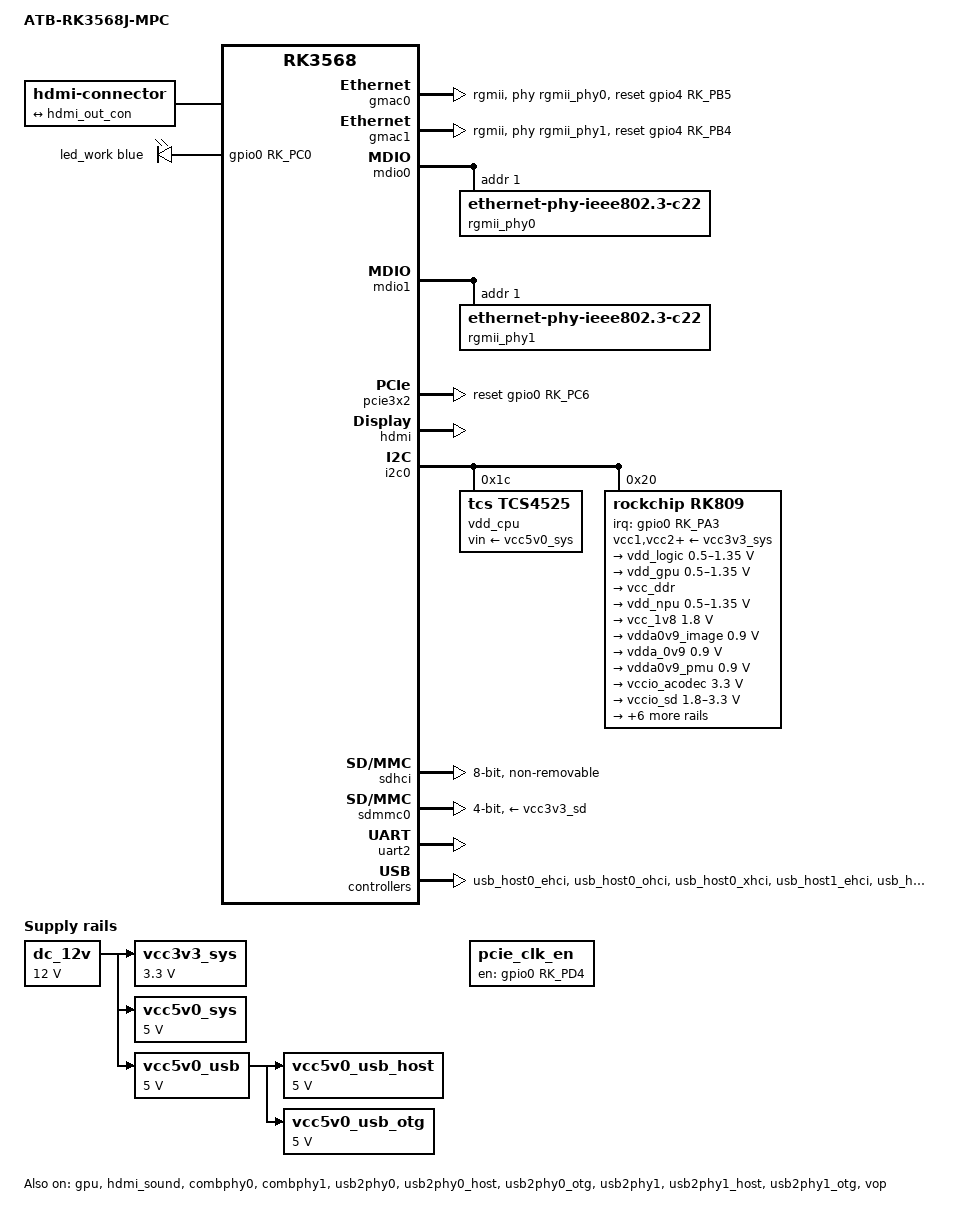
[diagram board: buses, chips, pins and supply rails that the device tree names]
// SPDX-License-Identifier: (GPL-2.0+ OR MIT)
/*
 * Copyright (c) 2021 Rockchip Electronics Co., Ltd.
 *
 */

/dts-v1/;
#include <dt-bindings/gpio/gpio.h>
#include <dt-bindings/leds/common.h>
#include <dt-bindings/pinctrl/rockchip.h>
#include <dt-bindings/soc/rockchip,vop2.h>
#include "rk3568.dtsi"

/ {
    compatible = "atb,atb-rk3568j-mpc", "rockchip,rk3568";
    
    model = "ATB-RK3568J-MPC";

	aliases {
		ethernet0 = &gmac0;
		ethernet1 = &gmac1;
        mmc0 = &sdhci;
		mmc1 = &sdmmc0;
	};

	chosen: chosen {
		stdout-path = "serial2:115200n8";
		bootargs = "root=/dev/mmcblk1p2=rootfs rootfstype=ext4 ro rootwait";
	};

	dc_12v: dc-12v {
		compatible = "regulator-fixed";
		regulator-name = "dc_12v";
		regulator-always-on;
		regulator-boot-on;
		regulator-min-microvolt = <12000000>;
		regulator-max-microvolt = <12000000>;
	};

	hdmi-con {
		compatible = "hdmi-connector";
		type = "a";

		port {
			hdmi_con_in: endpoint {
				remote-endpoint = <&hdmi_out_con>;
			};
		};
	};

	leds {
		compatible = "gpio-leds";

		led_work: led-0 {
			gpios = <&gpio0 RK_PC0 GPIO_ACTIVE_HIGH>;
			function = LED_FUNCTION_HEARTBEAT;
			color = <LED_COLOR_ID_BLUE>;
			linux,default-trigger = "heartbeat";
			pinctrl-names = "default";
			// pinctrl-0 = <&led_work_en>;
		};
	};

	rk809-sound {
		compatible = "simple-audio-card";
		simple-audio-card,format = "i2s";
		simple-audio-card,name = "Analog RK809";
		simple-audio-card,mclk-fs = <256>;

		simple-audio-card,cpu {
			sound-dai = <&i2s1_8ch>;
		};
		simple-audio-card,codec {
			sound-dai = <&rk809>;
		};
	};

	vcc3v3_sys: vcc3v3-sys {
		compatible = "regulator-fixed";
		regulator-name = "vcc3v3_sys";
		regulator-always-on;
		regulator-boot-on;
		regulator-min-microvolt = <3300000>;
		regulator-max-microvolt = <3300000>;
		vin-supply = <&dc_12v>;
	};

	vcc5v0_sys: vcc5v0-sys {
		compatible = "regulator-fixed";
		regulator-name = "vcc5v0_sys";
		regulator-always-on;
		regulator-boot-on;
		regulator-min-microvolt = <5000000>;
		regulator-max-microvolt = <5000000>;
		vin-supply = <&dc_12v>;
	};

	vcc5v0_usb: vcc5v0-usb {
		compatible = "regulator-fixed";
		enable-active-high;
		// gpio = <&gpio0 RK_PD5 GPIO_ACTIVE_HIGH>;
		regulator-name = "vcc5v0_usb";
		regulator-always-on;
		regulator-boot-on;
		regulator-min-microvolt = <5000000>;
		regulator-max-microvolt = <5000000>;
		vin-supply = <&dc_12v>;
	};

	vcc5v0_usb_host: vcc5v0-usb-host {
		compatible = "regulator-fixed";
		enable-active-high;
		// gpio = <&gpio0 RK_PD6 GPIO_ACTIVE_HIGH>;
		pinctrl-names = "default";
		// pinctrl-0 = <&vcc5v0_usb_host_en>;
		regulator-name = "vcc5v0_usb_host";
		regulator-min-microvolt = <5000000>;
		regulator-max-microvolt = <5000000>;
		vin-supply = <&vcc5v0_usb>;
	};

	vcc5v0_usb_otg: vcc5v0-usb-otg {
		compatible = "regulator-fixed";
		enable-active-high;
		// gpio = <&gpio0 RK_PD5 GPIO_ACTIVE_HIGH>;
		pinctrl-names = "default";
		// pinctrl-0 = <&vcc5v0_usb_otg_en>;
		regulator-name = "vcc5v0_usb_otg";
		regulator-min-microvolt = <5000000>;
		regulator-max-microvolt = <5000000>;
		vin-supply = <&vcc5v0_usb>;
	};

/*	vcc3v3_lcd0_n: vcc3v3-lcd0-n {
		compatible = "regulator-fixed";
		regulator-name = "vcc3v3_lcd0_n";
		regulator-min-microvolt = <3300000>;
		regulator-max-microvolt = <3300000>;
		enable-active-high;
		gpio = <&gpio0 RK_PC7 GPIO_ACTIVE_HIGH>;
		vin-supply = <&vcc3v3_sys>;
		pinctrl-names = "default";
		pinctrl-0 = <&vcc3v3_lcd0_n_en>;

		regulator-state-mem {
			regulator-off-in-suspend;
		};
	};

	vcc3v3_lcd1_n: vcc3v3-lcd1-n {
		compatible = "regulator-fixed";
		regulator-name = "vcc3v3_lcd1_n";
		regulator-min-microvolt = <3300000>;
		regulator-max-microvolt = <3300000>;
		enable-active-high;
		gpio = <&gpio0 RK_PC5 GPIO_ACTIVE_HIGH>;
		vin-supply = <&vcc3v3_sys>;
		pinctrl-names = "default";
		pinctrl-0 = <&vcc3v3_lcd1_n_en>;

		regulator-state-mem {
			regulator-off-in-suspend;
		};
	};*/
	
	
/*
    This is dummy regulator.
    It is used to have ability to activate PCIE clocks
*/
    pcie_clk_en: pcie-clk-en {
        compatible = "regulator-fixed";
        enable-active-high;
        // 1V8_PCIE_PWREN
        gpio = <&gpio0 RK_PD4 GPIO_ACTIVE_HIGH>;
        pinctrl-names = "default";
        pinctrl-0 = <&pcie_clk_en_pin>;
        regulator-name = "pcie_clk_en_pin";
        regulator-always-on;
    };
/*
    MPC

    1V8_PCIE_PWREN -> VT14(NMOS)->PCIe_EN_ -> VT15 (PMOS) -> +3.3v2_M2_CON
    0 -> 1 -> 0
    1 -> 0 -> 1

    +3.3v2_M2_CON supplies device connected to X18 (m.2 B/M)

    1V8_PCIE_PWREN -> VT14(NMOS)->PCIe_EN_ -> VT28 (PMOS) -> +3.3vPCIe
    0 -> 1 -> 0
    1 -> 0 -> 1

    +3.3vPCIe supplies D8 (SFP) and activtes generating PCIE30_REFCLKP/PCIE30_REFCLKN (reference clocks for PCIE3x controller) clocks

    D14 multiplexor is responsible for switching PCIE30_TX1P/PCIE30_TX1N and PCIE30_RX1P/PCIE30_RX1N between X18 and D8(SFP)
*/
	
	
};

&gmac0 {
	phy-mode = "rgmii";
	clock_in_out = "input";

	assigned-clocks = <&cru SCLK_GMAC0_RX_TX>, <&cru SCLK_GMAC0>;
	assigned-clock-parents = <&cru SCLK_GMAC0_RGMII_SPEED>;

	pinctrl-names = "default";
	pinctrl-0 = <	&gmac0_miim
					&gmac0_tx_bus2
					&gmac0_rx_bus2
					&gmac0_rgmii_clk
					&gmac0_rgmii_bus
					&gmac0_clkinout>;
/*
	RGMII0_RST -> VT5(NMOS) -> RGMII0_RST_
	0 -> 1
	1 -> 0
*/
	snps,reset-gpio = <&gpio4 RK_PB5 GPIO_ACTIVE_HIGH>;
	snps,reset-active-high;

	/* Reset time is 20ms, 100ms for rtl8211f */
	snps,reset-delays-us = <0 20000 100000>;

	tx_delay = <0x3c>;
	rx_delay = <0x2f>;

	phy-handle = <&rgmii_phy0>;
	status = "okay";
};

&gmac1 {
	phy-mode = "rgmii";
	clock_in_out = "input";

	assigned-clocks = <&cru SCLK_GMAC1_RX_TX>, <&cru SCLK_GMAC1>;
	assigned-clock-parents = <&cru SCLK_GMAC1_RGMII_SPEED>;

	pinctrl-names = "default";
	pinctrl-0 = <	&gmac1m0_miim
					&gmac1m0_tx_bus2
					&gmac1m0_rx_bus2
					&gmac1m0_rgmii_clk
					&gmac1m0_rgmii_bus
					&gmac1m0_clkinout>;
/*
	RGMII1_RST -> VT17(NMOS) -> RGMII1_RST_
	0 -> 1
	1 -> 0
*/
	snps,reset-gpio = <&gpio4 RK_PB4 GPIO_ACTIVE_HIGH>;
	snps,reset-active-high;

	/* Reset time is 20ms, 100ms for rtl8211f */
	snps,reset-delays-us = <0 20000 100000>;

	tx_delay = <0x4f>;
	rx_delay = <0x26>;

	phy-handle = <&rgmii_phy1>;
	status = "okay";
};

&mdio0 {
	rgmii_phy0: ethernet-phy@1 {
		compatible = "ethernet-phy-ieee802.3-c22";
		reg = <0x1>;
	};
};

&mdio1 {
	rgmii_phy1: ethernet-phy@1 {
		compatible = "ethernet-phy-ieee802.3-c22";
		reg = <0x1>;
	};
};

&pcie30phy {
	status = "disabled";
};

&pcie3x1 {
    reg = <0x3 0xc0400000 0x0 0x00400000>,
            <0x0 0xfe270000 0x0 0x00010000>,
            <0x3 0x7f000000 0x0 0x01000000>;

    ranges = <0x00000800 0x0 0xf2000000 0x0 0xf2000000 0x0 0x100000>,
            <0x81000000 0x0 0xf2100000 0x0 0xf2100000 0x0 0x100000>,
            <0x82000000 0x0 0xf2200000 0x0 0xf2200000 0x0 0x1e00000>,
            <0xc3000000 0x3 0x40000000 0x3 0x40000000 0x0 0x3ef00000>;
/*
    PCIE30X1_PERSTn -> R115(0) -> D8
    0 -> 0
    1 -> 1
*/    
    reset-gpios = <&gpio0 RK_PC3 GPIO_ACTIVE_HIGH>;

    status = "disabled";
};

&pcie3x2 {

	reg = <0x3 0xc0800000 0x0 0x400000>,
	      <0x0 0xfe280000 0x0 0x10000>,
		  <0x3 0xbf000000 0x0 0x01000000>;

	ranges = <0x00000800 0x0 0xf0000000 0x0 0xf0000000 0x0 0x100000>,
		  <0x81000000 0x0 0xf0100000 0x0 0xf0100000 0x0 0x100000>,
		  <0x82000000 0x0 0xf0200000 0x0 0xf0200000 0x0 0x1e00000>,
		  <0xc3000000 0x3 0x80000000 0x3 0x80000000 0x0 0x3ef00000>;

/*
    PCIE30X2_PERSTn is pulled up to +3.3vPCIe via R116(10K)
    PCIE30X2_PERSTn -> R179(0) -> M2_PCIE_RSTn (X18 m.2 B/M PERST#)
    0 -> 0
    1 -> 1
*/
    reset-gpios = <&gpio0 RK_PC6 GPIO_ACTIVE_HIGH>;

    status = "okay";
};

&gpu {
	mali-supply = <&vdd_gpu>;
	status = "okay";
};

&hdmi {
	avdd-0v9-supply = <&vdda0v9_image>;
	avdd-1v8-supply = <&vcca1v8_image>;
	status = "okay";
};

&hdmi_in {
	hdmi_in_vp0: endpoint {
		remote-endpoint = <&vp0_out_hdmi>;
	};
};

&hdmi_out {
	hdmi_out_con: endpoint {
		remote-endpoint = <&hdmi_con_in>;
	};
};

&hdmi_sound {
	status = "okay";
};

&i2c0 {
	status = "okay";

	vdd_cpu: regulator@1c {
		compatible = "tcs,tcs4525";
		reg = <0x1c>;
		fcs,suspend-voltage-selector = <1>;
		regulator-name = "vdd_cpu";
		regulator-always-on;
		regulator-boot-on;
		regulator-min-microvolt = <800000>;
		regulator-max-microvolt = <1150000>;
		regulator-ramp-delay = <2300>;
		vin-supply = <&vcc5v0_sys>;

		regulator-state-mem {
			regulator-off-in-suspend;
		};
	};

	rk809: pmic@20 {
		compatible = "rockchip,rk809";
		reg = <0x20>;
		interrupt-parent = <&gpio0>;
		interrupts = <RK_PA3 IRQ_TYPE_LEVEL_LOW>;
		assigned-clocks = <&cru I2S1_MCLKOUT_TX>;
		assigned-clock-parents = <&cru CLK_I2S1_8CH_TX>;
		#clock-cells = <1>;
		clock-names = "mclk";
		clocks = <&cru I2S1_MCLKOUT_TX>;
		pinctrl-names = "default";
		// pinctrl-0 = <&pmic_int>, <&i2s1m0_mclk>;
		rockchip,system-power-controller;
		#sound-dai-cells = <0>;
		vcc1-supply = <&vcc3v3_sys>;
		vcc2-supply = <&vcc3v3_sys>;
		vcc3-supply = <&vcc3v3_sys>;
		vcc4-supply = <&vcc3v3_sys>;
		vcc5-supply = <&vcc3v3_sys>;
		vcc6-supply = <&vcc3v3_sys>;
		vcc7-supply = <&vcc3v3_sys>;
		vcc8-supply = <&vcc3v3_sys>;
		vcc9-supply = <&vcc3v3_sys>;
		wakeup-source;

		regulators {
			vdd_logic: DCDC_REG1 {
				regulator-name = "vdd_logic";
				regulator-always-on;
				regulator-boot-on;
				regulator-init-microvolt = <900000>;
				regulator-initial-mode = <0x2>;
				regulator-min-microvolt = <500000>;
				regulator-max-microvolt = <1350000>;
				regulator-ramp-delay = <6001>;

				regulator-state-mem {
					regulator-off-in-suspend;
				};
			};

			vdd_gpu: DCDC_REG2 {
				regulator-name = "vdd_gpu";
				regulator-always-on;
				regulator-init-microvolt = <900000>;
				regulator-initial-mode = <0x2>;
				regulator-min-microvolt = <500000>;
				regulator-max-microvolt = <1350000>;
				regulator-ramp-delay = <6001>;

				regulator-state-mem {
					regulator-off-in-suspend;
				};
			};

			vcc_ddr: DCDC_REG3 {
				regulator-name = "vcc_ddr";
				regulator-always-on;
				regulator-boot-on;
				regulator-initial-mode = <0x2>;

				regulator-state-mem {
					regulator-on-in-suspend;
				};
			};

			vdd_npu: DCDC_REG4 {
				regulator-name = "vdd_npu";
				regulator-init-microvolt = <900000>;
				regulator-initial-mode = <0x2>;
				regulator-min-microvolt = <500000>;
				regulator-max-microvolt = <1350000>;
				regulator-ramp-delay = <6001>;

				regulator-state-mem {
					regulator-off-in-suspend;
				};
			};

			vcc_1v8: DCDC_REG5 {
				regulator-name = "vcc_1v8";
				regulator-always-on;
				regulator-boot-on;
				regulator-min-microvolt = <1800000>;
				regulator-max-microvolt = <1800000>;

				regulator-state-mem {
					regulator-off-in-suspend;
				};
			};

			vdda0v9_image: LDO_REG1 {
				regulator-name = "vdda0v9_image";
				regulator-min-microvolt = <900000>;
				regulator-max-microvolt = <900000>;

				regulator-state-mem {
					regulator-off-in-suspend;
				};
			};

			vdda_0v9: LDO_REG2 {
				regulator-name = "vdda_0v9";
				regulator-always-on;
				regulator-boot-on;
				regulator-min-microvolt = <900000>;
				regulator-max-microvolt = <900000>;

				regulator-state-mem {
					regulator-off-in-suspend;
				};
			};

			vdda0v9_pmu: LDO_REG3 {
				regulator-name = "vdda0v9_pmu";
				regulator-always-on;
				regulator-boot-on;
				regulator-min-microvolt = <900000>;
				regulator-max-microvolt = <900000>;

				regulator-state-mem {
					regulator-on-in-suspend;
					regulator-suspend-microvolt = <900000>;
				};
			};

			vccio_acodec: LDO_REG4 {
				regulator-name = "vccio_acodec";
				regulator-always-on;
				regulator-min-microvolt = <3300000>;
				regulator-max-microvolt = <3300000>;

				regulator-state-mem {
					regulator-off-in-suspend;
				};
			};

			vccio_sd: LDO_REG5 {
				regulator-name = "vccio_sd";
				regulator-min-microvolt = <1800000>;
				regulator-max-microvolt = <3300000>;

				regulator-state-mem {
					regulator-off-in-suspend;
				};
			};

			vcc3v3_pmu: LDO_REG6 {
				regulator-name = "vcc3v3_pmu";
				regulator-always-on;
				regulator-boot-on;
				regulator-min-microvolt = <3300000>;
				regulator-max-microvolt = <3300000>;

				regulator-state-mem {
					regulator-on-in-suspend;
					regulator-suspend-microvolt = <3300000>;
				};
			};

			vcca_1v8: LDO_REG7 {
				regulator-name = "vcca_1v8";
				regulator-always-on;
				regulator-boot-on;
				regulator-min-microvolt = <1800000>;
				regulator-max-microvolt = <1800000>;

				regulator-state-mem {
					regulator-off-in-suspend;
				};
			};

			vcca1v8_pmu: LDO_REG8 {
				regulator-name = "vcca1v8_pmu";
				regulator-always-on;
				regulator-boot-on;
				regulator-min-microvolt = <1800000>;
				regulator-max-microvolt = <1800000>;

				regulator-state-mem {
					regulator-on-in-suspend;
					regulator-suspend-microvolt = <1800000>;
				};
			};

			vcca1v8_image: LDO_REG9 {
				regulator-name = "vcca1v8_image";
				regulator-min-microvolt = <1800000>;
				regulator-max-microvolt = <1800000>;

				regulator-state-mem {
					regulator-off-in-suspend;
				};
			};

			vcc_3v3: SWITCH_REG1 {
				regulator-name = "vcc_3v3";
				regulator-always-on;
				regulator-boot-on;

				regulator-state-mem {
					regulator-off-in-suspend;
				};
			};

			vcc3v3_sd: SWITCH_REG2 {
				regulator-name = "vcc3v3_sd";

				regulator-state-mem {
					regulator-off-in-suspend;
				};
			};
		};

		codec {
			mic-in-differential;
		};
	};
};

&i2c1 {
	status = "disabled";
};

&i2s0_8ch {
	status = "disabled";
};

&i2s1_8ch {
	rockchip,trcm-sync-tx-only;
	status = "disabled";
};

&pmu_io_domains {
	pmuio1-supply = <&vcc3v3_pmu>;
	pmuio2-supply = <&vcc3v3_pmu>;
	vccio1-supply = <&vccio_acodec>;
	vccio2-supply = <&vcc_1v8>;
	vccio3-supply = <&vccio_sd>;
	vccio4-supply = <&vcc_1v8>;
	vccio5-supply = <&vcc_3v3>;
	vccio6-supply = <&vcc_1v8>;
	vccio7-supply = <&vcc_3v3>;
	status = "okay";
};

/* EMMC0 - D15 */
&sdhci {
	bus-width = <8>;
	max-frequency = <200000000>;
	non-removable;
	pinctrl-names = "default";
	pinctrl-0 = <&emmc_bus8 &emmc_clk &emmc_cmd &emmc_datastrobe>;
	status = "okay";
};

/* SDMMC0 - X21 */
&sdmmc0 {
	max-frequency = <150000000>;
	supports-sd;
	bus-width = <4>;
	cap-mmc-highspeed;
	cap-sd-highspeed;
	disable-wp;
	sd-uhs-sdr104;
	vmmc-supply = <&vcc3v3_sd>;
	vqmmc-supply = <&vccio_sd>;
	pinctrl-names = "default";
	pinctrl-0 = <&sdmmc0_bus4 &sdmmc0_clk &sdmmc0_cmd &sdmmc0_det>;
	status = "okay";
};

&tsadc {
	rockchip,hw-tshut-mode = <1>;
	rockchip,hw-tshut-polarity = <0>;
	status = "disabled";
};

&saradc {
	vref-supply = <&vcca_1v8>;
	status = "disabled";
};

&combphy0 {
	status = "okay";
};

&combphy1 {
	status = "okay";
};

&cpu0 {
	cpu-supply = <&vdd_cpu>;
};

&cpu1 {
	cpu-supply = <&vdd_cpu>;
};

&cpu2 {
	cpu-supply = <&vdd_cpu>;
};

&cpu3 {
	cpu-supply = <&vdd_cpu>;
};

&uart2 {
	status = "okay";
};

&usb_host0_ehci {
	status = "okay";
};

&usb_host0_ohci {
	status = "okay";
};

&usb_host0_xhci {
	extcon = <&usb2phy0>;
	status = "okay";
};

&usb_host1_ehci {
	status = "okay";
};

&usb_host1_ohci {
	status = "okay";
};

&usb_host1_xhci {
	status = "okay";
};

&usb2phy0 {
	status = "okay";
};

&usb2phy0_host {
	phy-supply = <&vcc5v0_usb_host>;
	status = "okay";
};

&usb2phy0_otg {
	phy-supply = <&vcc5v0_usb_otg>;
	status = "okay";
};

&usb2phy1 {
	status = "okay";
};

&usb2phy1_host {
	phy-supply = <&vcc5v0_usb_host>;
	status = "okay";
};

&usb2phy1_otg {
	phy-supply = <&vcc5v0_usb_host>;
	status = "okay";
};

&vop {
	assigned-clocks = <&cru DCLK_VOP0>, <&cru DCLK_VOP1>;
	assigned-clock-parents = <&pmucru PLL_HPLL>, <&cru PLL_VPLL>;
	status = "okay";
};

&vop_mmu {
	status = "okay";
};

&vp0 {
	vp0_out_hdmi: endpoint@ROCKCHIP_VOP2_EP_HDMI0 {
		reg = <ROCKCHIP_VOP2_EP_HDMI0>;
		remote-endpoint = <&hdmi_in_vp0>;
	};
};

&pinctrl {
	pcie {
		pcie_clk_en_pin: pcie-clk-en-pin {
			// 1V8_PCIE_PWREN
			rockchip,pins = <0 RK_PD4 RK_FUNC_GPIO &pcfg_pull_none>;
		};
	};

	rgmii_phy0_reset {
		rgmii_phy0_reset_pin: rgmii-phy0-reset-pin {
/*
            RGMII0_RST -> VT5 (NMOS) -> RGMII0_RST_
            0 -> 1
            1 -> 0
*/
			rockchip,pins = <4 RK_PB5 RK_FUNC_GPIO &pcfg_pull_none>;
		};
	};

    rgmii_phy1_reset {
		rgmii_phy1_reset_pin: rgmii-phy1-reset-pin {
/*
            RGMII1_RST -> VT7 (NMOS) -> RGMII1_RST_
            0 -> 1
            1 -> 0
*/
			rockchip,pins = <4 RK_PB4 RK_FUNC_GPIO &pcfg_pull_none>;
		};
	};
};

